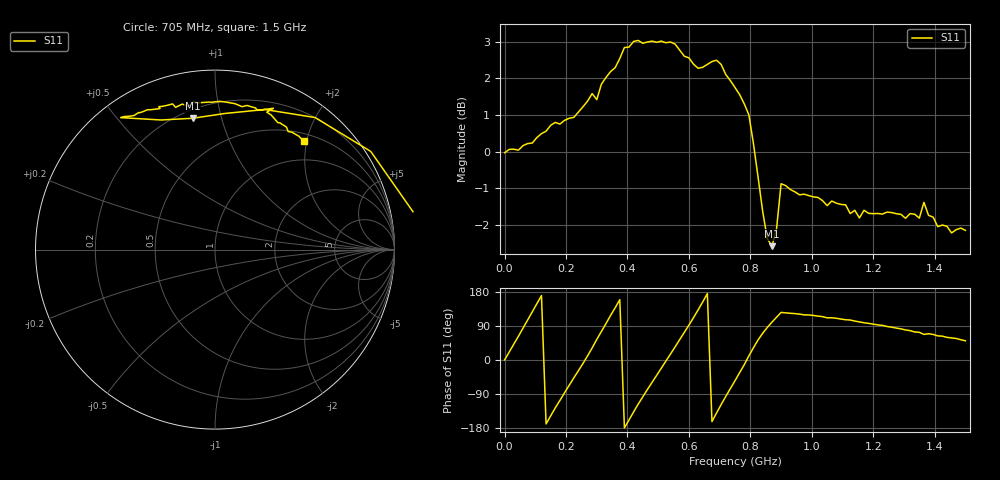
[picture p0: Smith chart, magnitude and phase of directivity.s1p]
! Created with skrf 1.8.0 (http://scikit-rf.org).
# Hz S RI R 50.0
!freq ReS11 ImS11
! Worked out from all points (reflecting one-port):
!   101 points, 50 kHz to 1.5 GHz, reference 50 ohm
!   lowest |S11| = -2.6 dB at 870 MHz (marker M1), VSWR 6.76, Z = 12.5 + j40.7 ohm
!   phase of S11 starts at 0 deg and turns +1131 deg over the sweep
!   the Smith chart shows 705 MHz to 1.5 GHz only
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50000  0.9962 0.00138
6.0048e7  0.1036 1.014
9.0047e7  -0.619 0.8199
1.20046e8  -1.042 0.1855
1.50045e8  -0.915 -0.5857
1.950435e8  0.0636 -1.101
2.40042e8  0.9949 -0.5401
2.70041e8  1.151 0.2216
3.0004e8  0.687 0.9565
3.30039e8  -0.1342 1.256
3.750375e8  -1.253 0.4763
4.20036e8  -1.033 -0.9666
4.650345e8  0.3038 -1.379
4.950335e8  1.073 -0.9163
5.250325e8  1.407 -0.0694
5.70031e8  0.8102 1.113
6.150295e8  -0.492 1.222
6.60028e8  -1.312 0.1098
7.050265e8  -0.6069 -1.167
7.50025e8  0.7068 -0.9986
7.950235e8  1.103 0.2113
8.250225e8  0.5576 0.7358
8.70021e8  -0.1243 0.7317
9.0002e8  -0.525 0.7354
9.450185e8  -0.4719 0.7437
1.125012e9  -0.2194 0.7927
1.320006e9  0.1783 0.803
1.5e9  0.4939 0.6038
